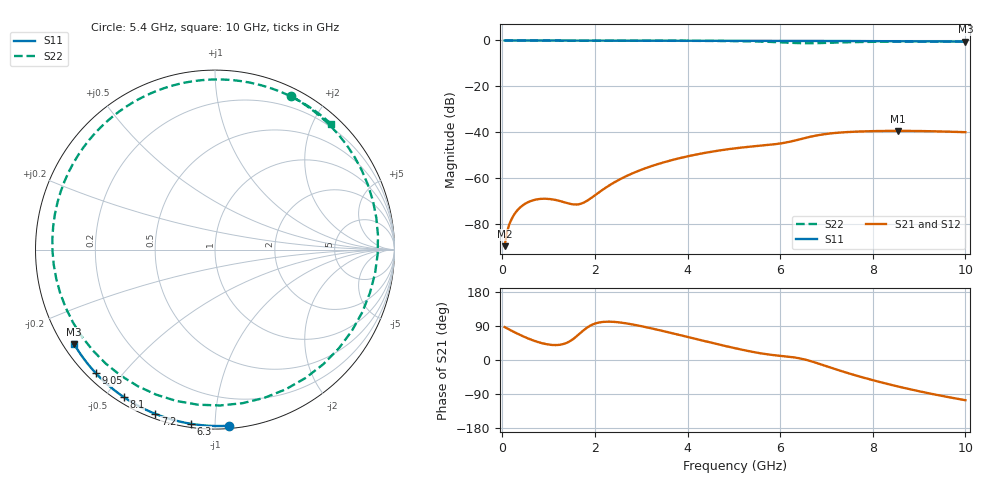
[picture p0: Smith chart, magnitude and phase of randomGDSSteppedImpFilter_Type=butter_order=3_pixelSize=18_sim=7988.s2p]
! freq	dB(S11)	phase(S11)	dB(S12)	phase(S12)
!  dB(S21)	phase(S21)	dB(S22)	phase(S22)
!S-par simulation data
#  GHz  S  DB  R 50
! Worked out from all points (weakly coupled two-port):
!   200 points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, 50 MHz to 10 GHz, reference 50 ohm
!   highest |S21| = -39.44 dB at 8.55 GHz (marker M1); lowest = -89.7 dB at 50 MHz (marker M2)
!   lowest |S11| = -0.5 dB at 10 GHz (marker M3), VSWR 35.17, Z = 1.55 - j15.2 ohm
!   |S11| at or under -10 dB: nowhere
!   |S22| runs from -1.2 to 0.0 dB; largest |S21 - S12| = 0
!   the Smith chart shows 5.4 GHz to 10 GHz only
!   S11 on the Smith chart (normalised r, x): 5.4 GHz: 0.02, -1.09; 6.3 GHz: 0.02, -0.87; 7.2 GHz: 0.02, -0.70; 8.1 GHz: 0.02, -0.56; 9.05 GHz: 0.03, -0.42; 10 GHz: 0.03, -0.30
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0.05  -0.00 -0.9  -89.74 86.8  -89.74 86.8  -0.00 -5.7
0.4  -0.01 -6.8  -72.59 65.3  -72.59 65.3  -0.06 -43.8
0.75  -0.02 -12.7  -69.32 48.2  -69.32 48.2  -0.09 -76.8
1.25  -0.03 -21.0  -70.07 40.3  -70.07 40.3  -0.10 -113.7
1.75  -0.04 -29.3  -70.81 78.0  -70.81 78.0  -0.11 -141.4
2.5  -0.05 -41.5  -61.00 99.6  -61.00 99.6  -0.12 -173.4
3.4  -0.07 -55.6  -53.68 78.5  -53.68 78.5  -0.14 154.4
4.25  -0.10 -68.6  -49.51 53.5  -49.51 53.5  -0.19 123.3
5.05  -0.12 -80.3  -46.99 30.4  -46.99 30.4  -0.30 86.0
5.4  -0.14 -85.3  -46.23 21.5  -46.23 21.5  -0.41 63.5
5.95  -0.16 -93.0  -45.10 11.7  -45.10 11.7  -0.76 11.2
6.3  -0.18 -97.8  -43.75 6.9  -43.75 6.9  -1.09 -38.5
6.5  -0.19 -100.6  -42.74 2.2  -42.74 2.2  -1.20 -71.5
6.7  -0.20 -103.3  -41.79 -4.5  -41.79 -4.5  -1.21 -104.2
6.95  -0.22 -106.6  -40.90 -14.4  -40.90 -14.4  -1.08 -140.4
7.2  -0.23 -110.0  -40.33 -24.5  -40.33 -24.5  -0.92 -169.5
7.65  -0.26 -115.9  -39.76 -41.3  -39.76 -41.3  -0.70 152.1
8.1  -0.30 -121.8  -39.51 -56.4  -39.51 -56.4  -0.57 124.7
8.35  -0.32 -125.0  -39.45 -64.2  -39.45 -64.2  -0.52 112.0
8.55  -0.34 -127.6  -39.44 -70.1  -39.44 -70.1  -0.50 102.8
9.05  -0.39 -134.0  -39.52 -83.8  -39.52 -83.8  -0.45 81.9
10  -0.49 -146.2  -40.01 -106.1  -40.01 -106.1  -0.42 47.2
